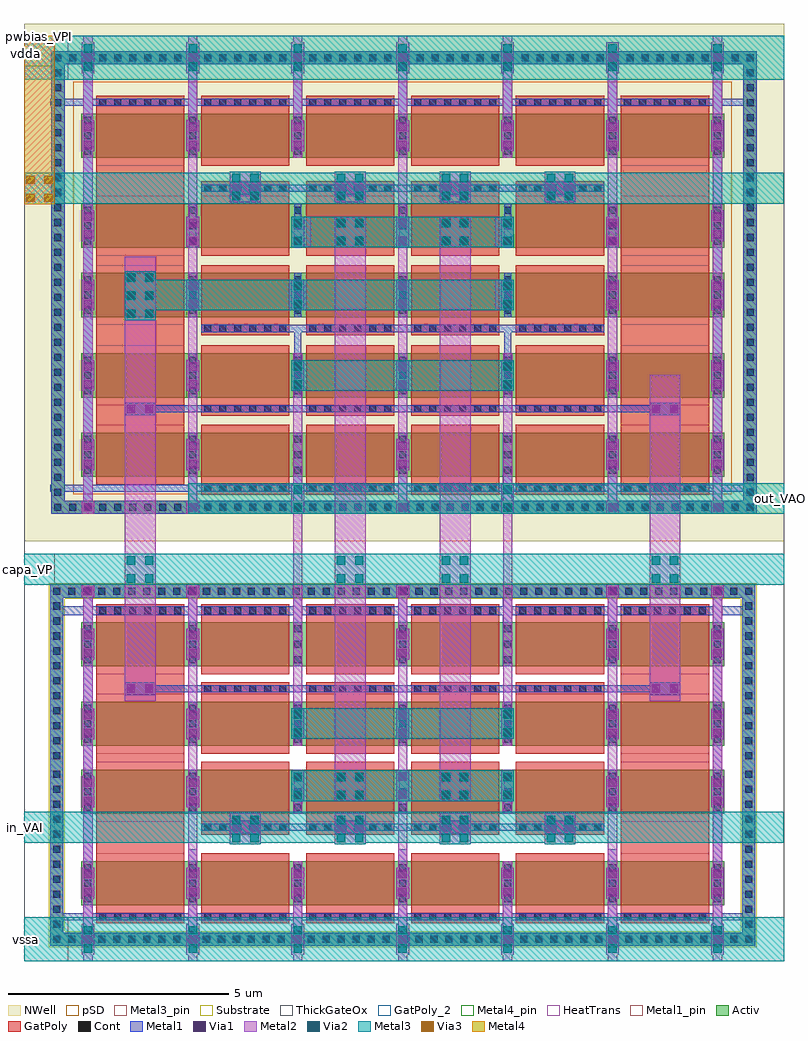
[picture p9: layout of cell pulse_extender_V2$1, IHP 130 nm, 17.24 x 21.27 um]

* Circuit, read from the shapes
.subckt pulse_extender_V2$1 capa_VP in_VAI out_VAO pwbias_VPI vdda vssa
XM1 vssa vssa vssa vssa sg13_hv_nmos w=1u l=2u m=16
XM2 capa_VP in_VAI vssa vssa sg13_hv_nmos w=1u l=2u m=4
XM3 out_VAO capa_VP vssa vssa sg13_hv_nmos w=1u l=2u m=4
XM4 vdda vdda vdda vdda sg13_hv_pmos w=1u l=2u m=18
XM5 out_VAO capa_VP vdda vdda sg13_hv_pmos w=1u l=2u m=4
XM6 capa_VP out_VAO vdda vdda sg13_hv_pmos w=1u l=2u m=4
XM7 capa_VP pwbias_VPI vdda vdda sg13_hv_pmos w=1u l=2u m=4
.ends

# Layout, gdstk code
from math import pi, radians
import gdstk
lib = gdstk.Library(unit=1e-6, precision=1e-09)
def R(c, l, rs):  # rectangles x0, y0, x1, y1
    for r in rs: c.add(gdstk.rectangle(r[:2], r[2:], *l))
def A(c, l, x, y, w, h, nx, ny, dx, dy):  # array of equal rectangles
    R(c, l, [(x+i*dx, y+j*dy, x+i*dx+w, y+j*dy+h) for i in range(nx) for j in range(ny)])
def P(c, l, *ps):  # polygons
    for p in ps: c.add(gdstk.Polygon(p, *l))
Activ = (1, 0)
GatPoly = (5, 0)
GatPoly_2 = (5, 2)
Cont = (6, 0)
Metal1 = (8, 0)
Metal1_pin = (8, 2)
Metal2 = (10, 0)
pSD = (14, 0)
Via1 = (19, 0)
Via2 = (29, 0)
Metal3 = (30, 0)
Metal3_pin = (30, 2)
NWell = (31, 0)
Substrate = (40, 0)
ThickGateOx = (44, 0)
Via3 = (49, 0)
Metal4 = (50, 0)
Metal4_pin = (50, 2)
HeatTrans = (51, 0)

pmoshv_3 = lib.new_cell('pmosHV$3')
R(pmoshv_3, Activ, [(0,0,0.3,0.3), (0,0,2.68,1), (2.38,0,2.68,0.3)])
R(pmoshv_3, GatPoly, [(0.34,-0.18,2.34,1.18)])
R(pmoshv_3, GatPoly_2, [(0.34,-0.18,2.34,1.18)])
A(pmoshv_3, Cont, 0.07, 0.07, 0.16, 0.16, 1, 3, 0, 0.35)
A(pmoshv_3, Cont, 2.45, 0.07, 0.16, 0.16, 1, 3, 0, 0.35)
R(pmoshv_3, Metal1, [(0.07,0,0.23,1), (2.45,0,2.61,1)])
R(pmoshv_3, Metal1_pin, [(0.07,0,0.23,1), (2.45,0,2.61,1)])
R(pmoshv_3, pSD, [(-0.18,-0.4,2.86,1.4)])
R(pmoshv_3, NWell, [(-0.62,-0.62,3.3,1.62)])
R(pmoshv_3, Substrate, [(2.38,0,2.68,0.3)])
R(pmoshv_3, ThickGateOx, [(-0.62,-0.62,3.3,1.62)])
R(pmoshv_3, HeatTrans, [(0.34,-0.18,2.34,1.18)])
pmoshv_3.add(gdstk.Label('pmosHV', (1.34,0.5), layer=63, texttype=0))
pmoshv_3.add(gdstk.Label('pmos', (1.34,0.5), layer=51, texttype=0))

nmoshv_4 = lib.new_cell('nmosHV$4')
R(nmoshv_4, Activ, [(0,0,0.3,0.3), (0,0,2.68,1), (2.38,0,2.68,0.3)])
R(nmoshv_4, GatPoly, [(0.34,-0.18,2.34,1.18)])
R(nmoshv_4, GatPoly_2, [(0.34,-0.18,2.34,1.18)])
A(nmoshv_4, Cont, 0.07, 0.07, 0.16, 0.16, 1, 3, 0, 0.35)
A(nmoshv_4, Cont, 2.45, 0.07, 0.16, 0.16, 1, 3, 0, 0.35)
R(nmoshv_4, Metal1, [(0.07,0,0.23,1), (2.45,0,2.61,1)])
R(nmoshv_4, Metal1_pin, [(0.07,0,0.23,1), (2.45,0,2.61,1)])
R(nmoshv_4, ThickGateOx, [(-0.27,-0.52,2.95,1.52)])
R(nmoshv_4, HeatTrans, [(0.34,-0.18,2.34,1.18)])
nmoshv_4.add(gdstk.Label('nmosHV', (1.34,0.5), layer=63, texttype=0))
nmoshv_4.add(gdstk.Label('nmosHV', (1.34,0.5), layer=51, texttype=0))

pmoshv_4 = lib.new_cell('pmosHV$4')
A(pmoshv_4, Activ, 0, 0, 0.3, 0.3, 5, 1, 2.38, 0)
R(pmoshv_4, Activ, [(0,0,9.82,1)])
A(pmoshv_4, GatPoly, 0.34, -0.18, 2, 1.36, 4, 1, 2.38, 0)
R(pmoshv_4, GatPoly_2, [(0.34,-0.18,2.34,1.18)])
A(pmoshv_4, Cont, 0.07, 0.07, 0.16, 0.16, 5, 3, 2.38, 0.35)
A(pmoshv_4, Metal1, 0.07, 0, 0.16, 1, 5, 1, 2.38, 0)
R(pmoshv_4, Metal1_pin, [(0.07,0,0.23,1), (2.45,0,2.61,1)])
R(pmoshv_4, pSD, [(-0.18,-0.4,10,1.4)])
R(pmoshv_4, NWell, [(-0.62,-0.62,10.44,1.62)])
R(pmoshv_4, Substrate, [(9.52,0,9.82,0.3)])
R(pmoshv_4, ThickGateOx, [(-0.62,-0.62,10.44,1.62)])
A(pmoshv_4, HeatTrans, 0.34, -0.18, 2, 1.36, 4, 1, 2.38, 0)
pmoshv_4.add(gdstk.Label('pmosHV', (1.34,0.5), layer=63, texttype=0))
pmoshv_4.add(gdstk.Label('pmos', (1.34,0.5), layer=51, texttype=0))
pmoshv_4.add(gdstk.Label('pmos', (3.72,0.5), layer=51, texttype=0))
pmoshv_4.add(gdstk.Label('pmos', (6.1,0.5), layer=51, texttype=0))
pmoshv_4.add(gdstk.Label('pmos', (8.48,0.5), layer=51, texttype=0))

pmoshv_5 = lib.new_cell('pmosHV$5')
A(pmoshv_5, Activ, 0, 0, 0.3, 0.3, 7, 1, 2.38, 0)
R(pmoshv_5, Activ, [(0,0,14.58,1)])
A(pmoshv_5, GatPoly, 0.34, -0.18, 2, 1.36, 6, 1, 2.38, 0)
R(pmoshv_5, GatPoly_2, [(0.34,-0.18,2.34,1.18)])
A(pmoshv_5, Cont, 0.07, 0.07, 0.16, 0.16, 7, 3, 2.38, 0.35)
A(pmoshv_5, Metal1, 0.07, 0, 0.16, 1, 7, 1, 2.38, 0)
R(pmoshv_5, Metal1_pin, [(0.07,0,0.23,1), (2.45,0,2.61,1)])
R(pmoshv_5, pSD, [(-0.18,-0.4,14.76,1.4)])
R(pmoshv_5, NWell, [(-0.62,-0.62,15.2,1.62)])
R(pmoshv_5, Substrate, [(14.28,0,14.58,0.3)])
R(pmoshv_5, ThickGateOx, [(-0.62,-0.62,15.2,1.62)])
A(pmoshv_5, HeatTrans, 0.34, -0.18, 2, 1.36, 6, 1, 2.38, 0)
pmoshv_5.add(gdstk.Label('pmosHV', (1.34,0.5), layer=63, texttype=0))
pmoshv_5.add(gdstk.Label('pmos', (1.34,0.5), layer=51, texttype=0))
pmoshv_5.add(gdstk.Label('pmos', (3.72,0.5), layer=51, texttype=0))
pmoshv_5.add(gdstk.Label('pmos', (6.1,0.5), layer=51, texttype=0))
pmoshv_5.add(gdstk.Label('pmos', (8.48,0.5), layer=51, texttype=0))
pmoshv_5.add(gdstk.Label('pmos', (10.86,0.5), layer=51, texttype=0))
pmoshv_5.add(gdstk.Label('pmos', (13.24,0.5), layer=51, texttype=0))

nmoshv_5 = lib.new_cell('nmosHV$5')
A(nmoshv_5, Activ, 0, 0, 0.3, 0.3, 7, 1, 2.38, 0)
R(nmoshv_5, Activ, [(0,0,14.58,1)])
A(nmoshv_5, GatPoly, 0.34, -0.18, 2, 1.36, 6, 1, 2.38, 0)
R(nmoshv_5, GatPoly_2, [(0.34,-0.18,2.34,1.18)])
A(nmoshv_5, Cont, 0.07, 0.07, 0.16, 0.16, 7, 3, 2.38, 0.35)
A(nmoshv_5, Metal1, 0.07, 0, 0.16, 1, 7, 1, 2.38, 0)
R(nmoshv_5, Metal1_pin, [(0.07,0,0.23,1), (2.45,0,2.61,1)])
R(nmoshv_5, ThickGateOx, [(-0.27,-0.52,14.85,1.52)])
A(nmoshv_5, HeatTrans, 0.34, -0.18, 2, 1.36, 6, 1, 2.38, 0)
nmoshv_5.add(gdstk.Label('nmosHV', (1.34,0.5), layer=63, texttype=0))
nmoshv_5.add(gdstk.Label('nmosHV', (1.34,0.5), layer=51, texttype=0))
nmoshv_5.add(gdstk.Label('nmosHV', (3.72,0.5), layer=51, texttype=0))
nmoshv_5.add(gdstk.Label('nmosHV', (6.1,0.5), layer=51, texttype=0))
nmoshv_5.add(gdstk.Label('nmosHV', (8.48,0.5), layer=51, texttype=0))
nmoshv_5.add(gdstk.Label('nmosHV', (10.86,0.5), layer=51, texttype=0))
nmoshv_5.add(gdstk.Label('nmosHV', (13.24,0.5), layer=51, texttype=0))

via_stack_3 = lib.new_cell('via_stack$3')
R(via_stack_3, Metal1, [(-0.145,-0.35,0.145,0.35)])
R(via_stack_3, Metal2, [(-0.145,-0.35,0.145,0.35)])
R(via_stack_3, Via1, [(-0.095,-0.3,0.095,-0.11), (-0.095,0.11,0.095,0.3)])

via_stack_5 = lib.new_cell('via_stack$5')
R(via_stack_5, Metal1, [(-0.35,-0.145,0.35,0.145)])
R(via_stack_5, Metal2, [(-0.35,-0.145,0.35,0.145)])
R(via_stack_5, Via1, [(-0.3,-0.095,-0.11,0.095), (0.11,-0.095,0.3,0.095)])

via_stack_32_1 = lib.new_cell('via_stack$32$1')
R(via_stack_32_1, Metal2, [(-0.35,-0.35,0.35,0.35)])
R(via_stack_32_1, Via2, [(-0.3,-0.3,-0.11,-0.11), (0.11,-0.3,0.3,-0.11), (-0.3,0.11,-0.11,0.3), (0.11,0.11,0.3,0.3)])
R(via_stack_32_1, Metal3, [(-0.35,-0.35,0.35,0.35)])

via_stack = lib.new_cell('via_stack')
R(via_stack, Metal2, [(-0.145,-0.35,0.145,0.35)])
R(via_stack, Via2, [(-0.095,-0.3,0.095,-0.11), (-0.095,0.11,0.095,0.3)])
R(via_stack, Metal3, [(-0.145,-0.35,0.145,0.35)])

guard_ring_4 = lib.new_cell('guard_ring$4')
R(guard_ring_4, Activ, [(-8,-4.95,-7.7,4.95), (7.7,-4.95,8,4.95), (-8,4.95,8,5.25)])
P(guard_ring_4, Activ, [(-8,-5.25),(-8,4.95),(-7.7,4.95),(-7.7,-4.95),(7.7,-4.95),(7.7,4.95),(-8,4.95),(-8,5.25),(8,5.25),(8,-5.25)])
A(guard_ring_4, Cont, -7.93, -5.18, 0.16, 0.16, 23, 2, 0.34, 10.2)
A(guard_ring_4, Cont, -0.05, -5.18, 0.16, 0.16, 24, 2, 0.34, 10.2)
A(guard_ring_4, Cont, -7.93, -4.84, 0.16, 0.16, 1, 29, 0, 0.34)
A(guard_ring_4, Cont, 7.77, -4.84, 0.16, 0.16, 1, 29, 0, 0.34)
R(guard_ring_4, Metal1, [(-8,-5.25,8,-4.95), (-8,-4.95,-7.7,4.95), (7.7,-4.95,8,4.95), (-8,4.95,8,5.25)])
R(guard_ring_4, NWell, [(-8.35,-5.6,8.35,5.6)])

guard_ring_1 = lib.new_cell('guard_ring$1')
R(guard_ring_1, Activ, [(-8,-3.8,-7.7,3.8), (7.7,-3.8,8,3.8), (-8,3.8,8,4.1)])
P(guard_ring_1, Activ, [(-8,-4.1),(-8,3.8),(-7.7,3.8),(-7.7,-3.8),(7.7,-3.8),(7.7,3.8),(-8,3.8),(-8,4.1),(8,4.1),(8,-4.1)])
A(guard_ring_1, Cont, -7.93, -4.03, 0.16, 0.16, 23, 2, 0.34, 7.9)
A(guard_ring_1, Cont, -0.05, -4.03, 0.16, 0.16, 24, 2, 0.34, 7.9)
A(guard_ring_1, Cont, -7.93, -3.69, 0.16, 0.16, 1, 11, 0, 0.34)
A(guard_ring_1, Cont, 7.77, -3.69, 0.16, 0.16, 1, 11, 0, 0.34)
A(guard_ring_1, Cont, -7.93, 0.13, 0.16, 0.16, 1, 11, 0, 0.34)
A(guard_ring_1, Cont, 7.77, 0.13, 0.16, 0.16, 1, 11, 0, 0.34)
R(guard_ring_1, Metal1, [(-8,-4.1,8,-3.8), (-8,-3.8,-7.7,3.8), (7.7,-3.8,8,3.8), (-8,3.8,8,4.1)])
R(guard_ring_1, pSD, [(-8.03,-3.77,-7.67,3.77), (7.67,-3.77,8.03,3.77), (-8.03,3.77,8.03,4.13)])
P(guard_ring_1, pSD, [(-8.03,-4.13),(-8.03,3.77),(-7.67,3.77),(-7.67,-3.77),(7.67,-3.77),(7.67,3.77),(-8.03,3.77),(-8.03,4.13),(8.03,4.13),(8.03,-4.13)])
R(guard_ring_1, Substrate, [(-8.03,-3.77,-7.67,3.77), (7.67,-3.77,8.03,3.77), (-8.03,3.77,8.03,4.13)])
P(guard_ring_1, Substrate, [(-8.03,-4.13),(-8.03,3.77),(-7.67,3.77),(-7.67,-3.77),(7.67,-3.77),(7.67,3.77),(-8.03,3.77),(-8.03,4.13),(8.03,4.13),(8.03,-4.13)])

via_stack_1 = lib.new_cell('via_stack$1')
R(via_stack_1, Metal1, [(-0.145,-0.145,0.145,0.145)])
R(via_stack_1, Metal2, [(-0.145,-0.145,0.145,0.145)])
R(via_stack_1, Via1, [(-0.095,-0.095,0.095,0.095)])

via_stack_29 = lib.new_cell('via_stack$29')
R(via_stack_29, GatPoly, [(-1,-0.15,1,0.15)])
A(via_stack_29, Cont, -0.93, -0.08, 0.16, 0.16, 6, 1, 0.34, 0)
R(via_stack_29, Metal1, [(-0.98,-0.08,0.98,0.08)])

via_stack_14 = lib.new_cell('via_stack$14')
R(via_stack_14, Metal1, [(-0.145,-0.35,0.145,0.35)])
R(via_stack_14, Metal2, [(-0.145,-0.35,0.145,0.35)])
R(via_stack_14, Via1, [(-0.095,-0.3,0.095,-0.11), (-0.095,0.11,0.095,0.3)])
R(via_stack_14, Via2, [(-0.095,-0.3,0.095,-0.11), (-0.095,0.11,0.095,0.3)])
R(via_stack_14, Metal3, [(-0.145,-0.35,0.145,0.35)])

via_stack_15 = lib.new_cell('via_stack$15')
R(via_stack_15, Metal2, [(-0.35,-0.555,0.35,0.555)])
A(via_stack_15, Via2, -0.3, -0.505, 0.19, 0.19, 1, 3, 0, 0.41)
A(via_stack_15, Via2, 0.11, -0.505, 0.19, 0.19, 1, 3, 0, 0.41)
R(via_stack_15, Metal3, [(-0.35,-0.555,0.35,0.555)])

via_stack_6 = lib.new_cell('via_stack$6')
R(via_stack_6, Metal3, [(-0.35,-0.35,0.35,0.35)])
R(via_stack_6, Via3, [(-0.3,-0.3,-0.11,-0.11), (0.11,-0.3,0.3,-0.11), (-0.3,0.11,-0.11,0.3), (0.11,0.11,0.3,0.3)])
R(via_stack_6, Metal4, [(-0.35,-0.35,0.35,0.35)])

pulse_extender_v2_1 = lib.new_cell('pulse_extender_V2$1')
A(pulse_extender_v2_1, GatPoly, 4.02, 2.375, 2, 0.02, 4, 2, 2.38, 14.495)
A(pulse_extender_v2_1, GatPoly, 4.02, 2.5, 2, 1.36, 4, 2, 2.38, 1.705)
R(pulse_extender_v2_1, GatPoly, [(1.64,0.86,3.64,7.14), (13.54,0.86,15.54,7.14), (1.64,10.625,3.64,19.135), (13.54,10.625,15.54,19.135)])
A(pulse_extender_v2_1, Metal1, 1.345, 0.775, 0.21, 1, 7, 2, 2.38, 2.07)
A(pulse_extender_v2_1, Metal1, 1.345, 4.385, 0.21, 1, 7, 2, 2.38, 13.34)
A(pulse_extender_v2_1, Metal1, 1.345, 6.195, 0.21, 1, 4, 1, 2.38, 0)
A(pulse_extender_v2_1, Metal1, 3.725, 6.195, 0.21, 1.855, 3, 1, 2.38, 0)
A(pulse_extender_v2_1, Metal1, 3.725, 9.65, 0.21, 1.84, 5, 1, 2.38, 0)
A(pulse_extender_v2_1, Metal1, 6.105, 10.49, 0.21, 1, 3, 1, 2.38, 0)
A(pulse_extender_v2_1, Metal1, 3.725, 14.115, 0.21, 1, 3, 1, 4.76, 0)
R(pulse_extender_v2_1, Metal1, [(6.105,0,6.315,1.775), (6.105,0,6.315,1.775), (10.865,0,11.075,1.775), (8.485,6.195,8.695,7.195), (8.485,6.195,8.695,8.05), (10.865,6.195,11.075,7.195), (10.865,6.195,11.075,7.195), (10.865,6.195,11.075,8.05), (10.865,6.195,11.075,8.05), (13.245,6.195,13.455,8.05), (15.625,6.195,15.835,7.195), (15.625,6.195,15.835,7.195), (1.345,10.49,1.555,11.49), (15.625,10.49,15.835,11.49), (1.345,12.29,1.555,13.29), (3.725,12.29,3.935,13.29), (8.485,12.29,8.695,13.29), (8.485,12.29,8.695,13.29), (13.245,12.29,13.455,13.29), (15.625,12.29,15.835,13.29), (1.345,14.115,1.555,15.115), (15.625,14.115,15.835,15.115), (1.345,15.69,1.555,16.69), (13.245,15.69,13.455,16.69), (15.625,15.69,15.835,16.69), (13.245,16.085,13.455,16.69), (13.245,17.725,13.455,20.15)])
A(pulse_extender_v2_1, Metal2, 3.725, 2.845, 0.21, 1, 5, 1, 2.38, 0)
A(pulse_extender_v2_1, Metal2, 3.725, 4.385, 0.21, 1, 4, 1, 2.38, 0)
R(pulse_extender_v2_1, Metal2, [(6.105,-0.5,6.315,1.775), (10.865,-0.5,11.075,1.775), (6.11,5.385,6.315,8.99), (10.87,5.385,11.075,8.99), (14.19,5.395,14.89,12.805), (2.285,5.4,2.985,15.485), (6.11,8.99,6.31,13.29), (10.87,8.99,11.07,13.29), (6.02,14.265,6.4,14.965), (10.685,14.265,11.07,14.965), (6.11,15.695,6.51,16.395), (10.685,15.695,11.07,16.395)])
R(pulse_extender_v2_1, pSD, [(1.12,10.09,16.06,19.45)])
R(pulse_extender_v2_1, Metal3, [(0,2.19,17.235,2.89), (6.11,3.13,11.07,3.83), (6.11,3.13,11.07,3.83), (6.11,4.545,11.07,5.245), (6.11,12.44,11.07,13.14), (2.285,14.265,11.07,14.965), (6.11,15.695,11.07,16.395), (6.11,15.695,11.07,16.395), (0,16.685,17.235,17.385)])
R(pulse_extender_v2_1, Metal3_pin, [(0,-0.5,1,0.5), (0,2.19,0.7,2.89), (0,8.04,0.7,8.74), (16.54,9.65,17.24,10.35), (0,19.5,1,20.5)])
R(pulse_extender_v2_1, NWell, [(0,9.025,17.24,20.77)])
R(pulse_extender_v2_1, ThickGateOx, [(0,-0.5,17.24,20.5)])
R(pulse_extender_v2_1, Metal4, [(0,17.385,0.7,20.5)])
R(pulse_extender_v2_1, Metal4_pin, [(0,19.8,0.7,20.5)])
pulse_extender_v2_1.add(gdstk.FlexPath([(0.59,10.23),(16.59,10.23)], 0.16, ends="flush", simple_path=True, layer=8, datatype=0))  # Metal1
pulse_extender_v2_1.add(gdstk.FlexPath([(2.285,12.03),(14.89,12.03)], 0.16, ends="flush", simple_path=True, layer=8, datatype=0))  # Metal1
pulse_extender_v2_1.add(gdstk.FlexPath([(4.02,13.855),(13.16,13.855)], 0.16, ends="flush", simple_path=True, layer=8, datatype=0))  # Metal1
pulse_extender_v2_1.add(gdstk.FlexPath([(6.21,13.29),(6.21,13.775),(6.21,13.775),(6.21,13.775),(6.21,13.775)], 0.16, ends="flush", simple_path=True, layer=8, datatype=0))  # Metal1
pulse_extender_v2_1.add(gdstk.FlexPath([(10.97,13.29),(10.97,13.775)], 0.16, ends="flush", simple_path=True, layer=8, datatype=0))  # Metal1
pulse_extender_v2_1.add(gdstk.FlexPath([(4.02,17.04),(13.16,17.04)], 0.16, ends="flush", simple_path=True, layer=8, datatype=0))  # Metal1
pulse_extender_v2_1.add(gdstk.FlexPath([(2.285,5.685),(14.89,5.685)], 0.16, ends="flush", simple_path=True, layer=8, datatype=0))  # Metal1
pulse_extender_v2_1.add(gdstk.FlexPath([(0.59,0.515),(16.59,0.515)], 0.16, ends="flush", simple_path=True, layer=8, datatype=0))  # Metal1
pulse_extender_v2_1.add(gdstk.FlexPath([(4.02,2.545),(13.16,2.545)], 0.16, ends="flush", simple_path=True, layer=8, datatype=0))  # Metal1
pulse_extender_v2_1.add(gdstk.FlexPath([(0.59,7.455),(16.59,7.455)], 0.21, ends="flush", simple_path=True, layer=8, datatype=0))  # Metal1
pulse_extender_v2_1.add(gdstk.FlexPath([(15.73,8.05),(15.73,5.96)], 0.21, ends="flush", simple_path=True, layer=8, datatype=0))  # Metal1
pulse_extender_v2_1.add(gdstk.FlexPath([(1.45,2.04),(1.45,0)], 0.21, ends="flush", simple_path=True, layer=8, datatype=0))  # Metal1
pulse_extender_v2_1.add(gdstk.FlexPath([(1.45,8.05),(1.45,-0.15)], 0.21, ends="flush", simple_path=True, layer=8, datatype=0))  # Metal1
pulse_extender_v2_1.add(gdstk.FlexPath([(15.73,2.04),(15.73,0)], 0.21, ends="flush", simple_path=True, layer=8, datatype=0))  # Metal1
pulse_extender_v2_1.add(gdstk.FlexPath([(3.83,0),(3.83,2.04)], 0.21, ends="flush", simple_path=True, layer=8, datatype=0))  # Metal1
pulse_extender_v2_1.add(gdstk.FlexPath([(8.59,0),(8.59,2.04)], 0.21, ends="flush", simple_path=True, layer=8, datatype=0))  # Metal1
pulse_extender_v2_1.add(gdstk.FlexPath([(13.35,0),(13.35,2.04)], 0.21, ends="flush", simple_path=True, layer=8, datatype=0))  # Metal1
pulse_extender_v2_1.add(gdstk.FlexPath([(8.59,0),(8.59,2.04)], 0.21, ends="flush", simple_path=True, layer=8, datatype=0))  # Metal1
pulse_extender_v2_1.add(gdstk.FlexPath([(3.83,0),(3.83,2.04)], 0.21, ends="flush", simple_path=True, layer=8, datatype=0))  # Metal1
pulse_extender_v2_1.add(gdstk.FlexPath([(15.73,-0.15),(15.73,8.05)], 0.21, ends="flush", simple_path=True, layer=8, datatype=0))  # Metal1
pulse_extender_v2_1.add(gdstk.FlexPath([(15.73,9.65),(15.73,20.15)], 0.21, ends="flush", simple_path=True, layer=8, datatype=0))  # Metal1
pulse_extender_v2_1.add(gdstk.FlexPath([(1.45,9.65),(1.45,20.15)], 0.21, ends="flush", simple_path=True, layer=8, datatype=0))  # Metal1
pulse_extender_v2_1.add(gdstk.FlexPath([(3.83,17.725),(3.83,20.15)], 0.21, ends="flush", simple_path=True, layer=8, datatype=0))  # Metal1
pulse_extender_v2_1.add(gdstk.FlexPath([(6.21,17.725),(6.21,20.15)], 0.21, ends="flush", simple_path=True, layer=8, datatype=0))  # Metal1
pulse_extender_v2_1.add(gdstk.FlexPath([(8.59,17.725),(8.59,20.15)], 0.21, ends="flush", simple_path=True, layer=8, datatype=0))  # Metal1
pulse_extender_v2_1.add(gdstk.FlexPath([(10.97,17.725),(10.97,20.15)], 0.21, ends="flush", simple_path=True, layer=8, datatype=0))  # Metal1
pulse_extender_v2_1.add(gdstk.FlexPath([(0.59,18.985),(16.59,18.985)], 0.16, ends="flush", simple_path=True, layer=8, datatype=0))  # Metal1
pulse_extender_v2_1.add(gdstk.FlexPath([(7.4,16.395),(7.4,3.13)], 0.7, ends="flush", simple_path=True, layer=10, datatype=0))  # Metal2
pulse_extender_v2_1.add(gdstk.FlexPath([(9.78,16.395),(9.78,3.13)], 0.7, ends="flush", simple_path=True, layer=10, datatype=0))  # Metal2
pulse_extender_v2_1.add(gdstk.FlexPath([(8.59,17.725),(8.59,9.65),(8.59,9.65)], 0.21, ends="flush", simple_path=True, layer=10, datatype=0))  # Metal2
pulse_extender_v2_1.add(gdstk.FlexPath([(3.83,17.725),(3.83,9.65)], 0.21, ends="flush", simple_path=True, layer=10, datatype=0))  # Metal2
pulse_extender_v2_1.add(gdstk.FlexPath([(13.35,20.15),(13.35,9.65),(13.35,9.65)], 0.21, ends="flush", simple_path=True, layer=10, datatype=0))  # Metal2
pulse_extender_v2_1.add(gdstk.FlexPath([(3.83,2.04),(3.83,8.05)], 0.21, ends="flush", simple_path=True, layer=10, datatype=0))  # Metal2
pulse_extender_v2_1.add(gdstk.FlexPath([(8.59,2.04),(8.59,8.05)], 0.21, ends="flush", simple_path=True, layer=10, datatype=0))  # Metal2
pulse_extender_v2_1.add(gdstk.FlexPath([(13.35,2.04),(13.35,8.05)], 0.21, ends="flush", simple_path=True, layer=10, datatype=0))  # Metal2
pulse_extender_v2_1.add(gdstk.FlexPath([(1.45,8.05),(1.45,-0.5)], 0.21, ends="flush", simple_path=True, layer=10, datatype=0))  # Metal2
pulse_extender_v2_1.add(gdstk.FlexPath([(15.73,8.05),(15.73,-0.5)], 0.21, ends="flush", simple_path=True, layer=10, datatype=0))  # Metal2
pulse_extender_v2_1.add(gdstk.FlexPath([(13.35,2.04),(13.35,-0.5)], 0.21, ends="flush", simple_path=True, layer=10, datatype=0))  # Metal2
pulse_extender_v2_1.add(gdstk.FlexPath([(8.59,2.04),(8.59,-0.5)], 0.21, ends="flush", simple_path=True, layer=10, datatype=0))  # Metal2
pulse_extender_v2_1.add(gdstk.FlexPath([(3.83,2.04),(3.83,-0.5)], 0.21, ends="flush", simple_path=True, layer=10, datatype=0))  # Metal2
pulse_extender_v2_1.add(gdstk.FlexPath([(3.83,17.725),(3.83,20.5)], 0.21, ends="flush", simple_path=True, layer=10, datatype=0))  # Metal2
pulse_extender_v2_1.add(gdstk.FlexPath([(6.21,17.725),(6.21,20.5)], 0.21, ends="flush", simple_path=True, layer=10, datatype=0))  # Metal2
pulse_extender_v2_1.add(gdstk.FlexPath([(8.59,17.725),(8.59,20.5)], 0.21, ends="flush", simple_path=True, layer=10, datatype=0))  # Metal2
pulse_extender_v2_1.add(gdstk.FlexPath([(10.97,17.725),(10.97,20.5)], 0.21, ends="flush", simple_path=True, layer=10, datatype=0))  # Metal2
pulse_extender_v2_1.add(gdstk.FlexPath([(15.73,9.65),(15.73,20.5)], 0.21, ends="flush", simple_path=True, layer=10, datatype=0))  # Metal2
pulse_extender_v2_1.add(gdstk.FlexPath([(1.45,9.65),(1.45,20.5)], 0.21, ends="flush", simple_path=True, layer=10, datatype=0))  # Metal2
pulse_extender_v2_1.add(gdstk.FlexPath([(3.725,10),(17.24,10)], 0.7, ends="flush", simple_path=True, layer=30, datatype=0))  # Metal3
pulse_extender_v2_1.add(gdstk.FlexPath([(17.24,8.39),(0,8.39)], 0.7, ends="flush", simple_path=True, layer=30, datatype=0))  # Metal3
pulse_extender_v2_1.add(gdstk.FlexPath([(0,0),(17.24,0)], 1, ends="flush", simple_path=True, layer=30, datatype=0))  # Metal3
pulse_extender_v2_1.add(gdstk.FlexPath([(0,20),(17.24,20)], 1, ends="flush", simple_path=True, layer=30, datatype=0))  # Metal3
pulse_extender_v2_1.add(gdstk.FlexPath([(0.35,17.385),(0.35,16.685)], 0.7, ends="flush", simple_path=True, layer=50, datatype=0))  # Metal4
pulse_extender_v2_1.add(gdstk.Reference(pmoshv_3, (6.06,15.69)))
pulse_extender_v2_1.add(gdstk.Reference(pmoshv_3, (8.44,15.69)))
pulse_extender_v2_1.add(gdstk.Reference(nmoshv_4, (6.06,4.385)))
pulse_extender_v2_1.add(gdstk.Reference(nmoshv_4, (8.44,4.385)))
pulse_extender_v2_1.add(gdstk.Reference(nmoshv_4, (6.06,2.845)))
pulse_extender_v2_1.add(gdstk.Reference(nmoshv_4, (8.44,2.845)))
pulse_extender_v2_1.add(gdstk.Reference(pmoshv_4, (3.68,12.29)))
pulse_extender_v2_1.add(gdstk.Reference(pmoshv_5, (1.3,10.49)))
pulse_extender_v2_1.add(gdstk.Reference(pmoshv_5, (1.3,17.725)))
pulse_extender_v2_1.add(gdstk.Reference(pmoshv_4, (3.68,14.115)))
pulse_extender_v2_1.add(gdstk.Reference(nmoshv_5, (1.3,6.195)))
pulse_extender_v2_1.add(gdstk.Reference(nmoshv_5, (1.3,0.775)))
r = gdstk.Reference(via_stack_3, (3.83,16.045)); r.repetition = gdstk.Repetition(3, 1, v1=(4.76,0), v2=(0,0)); pulse_extender_v2_1.add(r)
r = gdstk.Reference(via_stack_3, (3.83,16.045)); r.repetition = gdstk.Repetition(3, 1, v1=(4.76,0), v2=(0,0)); pulse_extender_v2_1.add(r)
r = gdstk.Reference(via_stack_5, (5.02,17.035)); r.repetition = gdstk.Repetition(4, 1, v1=(2.38,0), v2=(0,0)); pulse_extender_v2_1.add(r)
r = gdstk.Reference(via_stack_32_1, (5.02,17.065)); r.repetition = gdstk.Repetition(4, 1, v1=(2.38,0), v2=(0,0)); pulse_extender_v2_1.add(r)
r = gdstk.Reference(via_stack_5, (5.02,2.54)); r.repetition = gdstk.Repetition(4, 1, v1=(2.38,0), v2=(0,0)); pulse_extender_v2_1.add(r)
r = gdstk.Reference(via_stack_32_1, (5.02,2.505)); r.repetition = gdstk.Repetition(4, 1, v1=(2.38,0), v2=(0,0)); pulse_extender_v2_1.add(r)
r = gdstk.Reference(via_stack_3, (3.83,14.615)); r.repetition = gdstk.Repetition(3, 1, v1=(4.76,0), v2=(0,0)); pulse_extender_v2_1.add(r)
pulse_extender_v2_1.add(gdstk.Reference(via_stack, (6.21,10)))
pulse_extender_v2_1.add(gdstk.Reference(via_stack, (10.97,10)))
r = gdstk.Reference(guard_ring_4, (8.62,14.9)); r.repetition = gdstk.Repetition(1, 1, v1=(0,0), v2=(0,0)); pulse_extender_v2_1.add(r)
r = gdstk.Reference(guard_ring_1, (8.59,3.95)); r.repetition = gdstk.Repetition(1, 1, v1=(0,0), v2=(0,0)); pulse_extender_v2_1.add(r)
pulse_extender_v2_1.add(gdstk.Reference(via_stack_3, (8.59,12.79)))
pulse_extender_v2_1.add(gdstk.Reference(via_stack_3, (8.59,12.79)))
pulse_extender_v2_1.add(gdstk.Reference(via_stack_3, (8.59,16.045)))
pulse_extender_v2_1.add(gdstk.Reference(via_stack_3, (8.59,16.045)))
pulse_extender_v2_1.add(gdstk.Reference(via_stack_3, (8.59,16.045)))
pulse_extender_v2_1.add(gdstk.Reference(via_stack_3, (8.59,16.045)))
pulse_extender_v2_1.add(gdstk.Reference(via_stack, (8.59,20)))
pulse_extender_v2_1.add(gdstk.Reference(via_stack_1, (8.59,20), rotation=pi/2))
pulse_extender_v2_1.add(gdstk.Reference(via_stack_3, (8.59,18.225)))
pulse_extender_v2_1.add(gdstk.Reference(via_stack_3, (8.59,10.99)))
pulse_extender_v2_1.add(gdstk.Reference(via_stack_1, (8.59,0), rotation=pi/2))
pulse_extender_v2_1.add(gdstk.Reference(via_stack_3, (8.59,6.695)))
pulse_extender_v2_1.add(gdstk.Reference(via_stack_1, (8.59,7.9), rotation=pi/2))
pulse_extender_v2_1.add(gdstk.Reference(via_stack_3, (8.59,4.885)))
pulse_extender_v2_1.add(gdstk.Reference(via_stack_3, (8.59,3.485)))
pulse_extender_v2_1.add(gdstk.Reference(via_stack_1, (8.59,9.8), rotation=pi/2))
pulse_extender_v2_1.add(gdstk.Reference(via_stack_3, (8.59,1.275)))
pulse_extender_v2_1.add(gdstk.Reference(via_stack, (8.59,0)))
pulse_extender_v2_1.add(gdstk.Reference(via_stack_29, (9.78,10.23)))
pulse_extender_v2_1.add(gdstk.Reference(via_stack, (15.73,20)))
pulse_extender_v2_1.add(gdstk.Reference(via_stack_14, (10.97,12.79)))
pulse_extender_v2_1.add(gdstk.Reference(via_stack_29, (12.16,17.04)))
pulse_extender_v2_1.add(gdstk.Reference(via_stack_14, (10.97,14.615)))
pulse_extender_v2_1.add(gdstk.Reference(via_stack_29, (9.78,17.04)))
pulse_extender_v2_1.add(gdstk.Reference(via_stack_1, (15.73,20), rotation=pi/2))
pulse_extender_v2_1.add(gdstk.Reference(pmoshv_3, (13.2,14.115)))
pulse_extender_v2_1.add(gdstk.Reference(pmoshv_3, (13.2,15.69)))
pulse_extender_v2_1.add(gdstk.Reference(via_stack_14, (10.97,16.045)))
pulse_extender_v2_1.add(gdstk.Reference(via_stack_29, (9.78,12.03)))
pulse_extender_v2_1.add(gdstk.Reference(via_stack, (10.97,20)))
pulse_extender_v2_1.add(gdstk.Reference(via_stack_14, (10.97,16.045)))
pulse_extender_v2_1.add(gdstk.Reference(via_stack_1, (10.97,20), rotation=pi/2))
pulse_extender_v2_1.add(gdstk.Reference(via_stack_32_1, (9.78,16.045)))
pulse_extender_v2_1.add(gdstk.Reference(via_stack_3, (10.97,18.225)))
pulse_extender_v2_1.add(gdstk.Reference(via_stack, (13.35,20)))
pulse_extender_v2_1.add(gdstk.Reference(via_stack_5, (14.54,12.03)))
pulse_extender_v2_1.add(gdstk.Reference(via_stack_29, (9.78,13.855)))
pulse_extender_v2_1.add(gdstk.Reference(via_stack_29, (12.16,13.855)))
pulse_extender_v2_1.add(gdstk.Reference(pmoshv_3, (10.82,15.69)))
pulse_extender_v2_1.add(gdstk.Reference(via_stack_1, (13.35,20), rotation=pi/2))
pulse_extender_v2_1.add(gdstk.Reference(via_stack_3, (13.35,18.225)))
pulse_extender_v2_1.add(gdstk.Reference(via_stack_3, (15.73,18.225)))
pulse_extender_v2_1.add(gdstk.Reference(via_stack_3, (15.73,16.19)))
pulse_extender_v2_1.add(gdstk.Reference(via_stack_3, (15.73,14.615)))
pulse_extender_v2_1.add(gdstk.Reference(via_stack_3, (15.73,12.79)))
pulse_extender_v2_1.add(gdstk.Reference(pmoshv_3, (13.2,12.29)))
pulse_extender_v2_1.add(gdstk.Reference(via_stack_3, (15.73,10.99)))
pulse_extender_v2_1.add(gdstk.Reference(via_stack_3, (13.35,10.99)))
pulse_extender_v2_1.add(gdstk.Reference(via_stack_3, (13.35,12.79)))
pulse_extender_v2_1.add(gdstk.Reference(via_stack_29, (12.16,12.03)))
pulse_extender_v2_1.add(gdstk.Reference(via_stack_29, (12.16,18.985)))
pulse_extender_v2_1.add(gdstk.Reference(via_stack_29, (14.54,18.985)))
pulse_extender_v2_1.add(gdstk.Reference(via_stack_29, (9.78,18.985)))
pulse_extender_v2_1.add(gdstk.Reference(via_stack_29, (12.16,10.23)))
pulse_extender_v2_1.add(gdstk.Reference(via_stack_29, (14.54,10.23)))
pulse_extender_v2_1.add(gdstk.Reference(via_stack_15, (2.635,14.6)))
pulse_extender_v2_1.add(gdstk.Reference(via_stack_3, (3.83,18.225)))
pulse_extender_v2_1.add(gdstk.Reference(via_stack_29, (7.4,17.04)))
pulse_extender_v2_1.add(gdstk.Reference(via_stack_29, (5.02,17.04)))
pulse_extender_v2_1.add(gdstk.Reference(via_stack_14, (6.21,14.615)))
pulse_extender_v2_1.add(gdstk.Reference(via_stack_29, (5.02,12.03)))
pulse_extender_v2_1.add(gdstk.Reference(via_stack_14, (6.21,16.045)))
pulse_extender_v2_1.add(gdstk.Reference(via_stack_3, (3.83,10.99)))
pulse_extender_v2_1.add(gdstk.Reference(via_stack, (1.45,20)))
pulse_extender_v2_1.add(gdstk.Reference(via_stack_32_1, (7.4,16.045)))
pulse_extender_v2_1.add(gdstk.Reference(pmoshv_3, (1.3,12.29)))
pulse_extender_v2_1.add(gdstk.Reference(via_stack_14, (6.21,16.045)))
pulse_extender_v2_1.add(gdstk.Reference(via_stack_3, (3.83,12.79)))
pulse_extender_v2_1.add(gdstk.Reference(via_stack_6, (0.35,17.025)))
pulse_extender_v2_1.add(gdstk.Reference(pmoshv_3, (1.3,14.115)))
pulse_extender_v2_1.add(gdstk.Reference(pmoshv_3, (3.68,15.69)))
pulse_extender_v2_1.add(gdstk.Reference(via_stack_1, (1.45,20), rotation=pi/2))
pulse_extender_v2_1.add(gdstk.Reference(via_stack_32_1, (7.4,16.045)))
pulse_extender_v2_1.add(gdstk.Reference(via_stack, (1.45,20)))
pulse_extender_v2_1.add(gdstk.Reference(via_stack_1, (1.45,20), rotation=pi/2))
pulse_extender_v2_1.add(gdstk.Reference(via_stack_3, (1.45,18.225)))
pulse_extender_v2_1.add(gdstk.Reference(via_stack_3, (1.45,16.19)))
pulse_extender_v2_1.add(gdstk.Reference(via_stack_3, (1.45,14.615)))
pulse_extender_v2_1.add(gdstk.Reference(via_stack_3, (1.45,12.79)))
pulse_extender_v2_1.add(gdstk.Reference(via_stack_3, (1.45,10.99)))
pulse_extender_v2_1.add(gdstk.Reference(via_stack, (6.21,20)))
pulse_extender_v2_1.add(gdstk.Reference(via_stack_1, (6.21,20), rotation=pi/2))
pulse_extender_v2_1.add(gdstk.Reference(via_stack_3, (6.21,18.225)))
pulse_extender_v2_1.add(gdstk.Reference(via_stack_14, (6.21,12.79)))
pulse_extender_v2_1.add(gdstk.Reference(pmoshv_3, (1.3,15.69)))
pulse_extender_v2_1.add(gdstk.Reference(via_stack_29, (7.4,12.03)))
pulse_extender_v2_1.add(gdstk.Reference(via_stack_29, (7.4,18.985)))
pulse_extender_v2_1.add(gdstk.Reference(via_stack_5, (2.635,12.03)))
pulse_extender_v2_1.add(gdstk.Reference(via_stack_29, (2.64,18.985)))
pulse_extender_v2_1.add(gdstk.Reference(via_stack_29, (5.02,18.985)))
pulse_extender_v2_1.add(gdstk.Reference(via_stack_29, (7.4,13.855)))
pulse_extender_v2_1.add(gdstk.Reference(via_stack_29, (5.02,13.855)))
pulse_extender_v2_1.add(gdstk.Reference(via_stack_29, (7.4,10.23)))
pulse_extender_v2_1.add(gdstk.Reference(via_stack, (3.83,20)))
pulse_extender_v2_1.add(gdstk.Reference(via_stack_29, (5.02,10.23)))
pulse_extender_v2_1.add(gdstk.Reference(via_stack_1, (3.83,20), rotation=pi/2))
pulse_extender_v2_1.add(gdstk.Reference(via_stack_3, (3.83,6.695)))
pulse_extender_v2_1.add(gdstk.Reference(via_stack_3, (1.45,4.885)))
pulse_extender_v2_1.add(gdstk.Reference(nmoshv_4, (3.68,2.845)))
pulse_extender_v2_1.add(gdstk.Reference(via_stack_29, (5.02,7.455)))
pulse_extender_v2_1.add(gdstk.Reference(via_stack_29, (2.64,7.455)))
pulse_extender_v2_1.add(gdstk.Reference(via_stack_29, (7.4,7.455)))
pulse_extender_v2_1.add(gdstk.Reference(via_stack_29, (5.02,0.515)))
pulse_extender_v2_1.add(gdstk.Reference(via_stack_32_1, (7.4,8.39)))
pulse_extender_v2_1.add(gdstk.Reference(via_stack_29, (2.64,0.515)))
pulse_extender_v2_1.add(gdstk.Reference(via_stack_1, (1.45,9.8), rotation=pi/2))
pulse_extender_v2_1.add(gdstk.Reference(via_stack_29, (7.4,0.515)))
pulse_extender_v2_1.add(gdstk.Reference(via_stack_3, (1.45,3.345)))
pulse_extender_v2_1.add(gdstk.Reference(via_stack_3, (1.45,1.275)))
pulse_extender_v2_1.add(gdstk.Reference(nmoshv_4, (3.68,4.385)))
pulse_extender_v2_1.add(gdstk.Reference(via_stack_3, (1.45,6.695)))
pulse_extender_v2_1.add(gdstk.Reference(nmoshv_4, (1.3,2.845)))
pulse_extender_v2_1.add(gdstk.Reference(nmoshv_4, (1.3,4.385)))
pulse_extender_v2_1.add(gdstk.Reference(via_stack_32_1, (7.4,3.48)))
pulse_extender_v2_1.add(gdstk.Reference(via_stack_32_1, (7.4,3.48)))
pulse_extender_v2_1.add(gdstk.Reference(via_stack_29, (7.4,2.545)))
pulse_extender_v2_1.add(gdstk.Reference(via_stack_29, (5.02,2.545)))
pulse_extender_v2_1.add(gdstk.Reference(via_stack, (1.45,0)))
pulse_extender_v2_1.add(gdstk.Reference(via_stack_1, (1.45,0), rotation=pi/2))
pulse_extender_v2_1.add(gdstk.Reference(via_stack_14, (6.21,3.48)))
pulse_extender_v2_1.add(gdstk.Reference(via_stack_14, (6.21,4.895)))
pulse_extender_v2_1.add(gdstk.Reference(via_stack_3, (3.83,3.345)))
pulse_extender_v2_1.add(gdstk.Reference(via_stack_3, (6.21,1.275)))
pulse_extender_v2_1.add(gdstk.Reference(via_stack, (6.21,0)))
pulse_extender_v2_1.add(gdstk.Reference(via_stack_1, (6.21,0), rotation=pi/2))
pulse_extender_v2_1.add(gdstk.Reference(via_stack_3, (3.83,1.275)))
pulse_extender_v2_1.add(gdstk.Reference(via_stack, (3.83,0)))
pulse_extender_v2_1.add(gdstk.Reference(via_stack_1, (3.83,0), rotation=pi/2))
pulse_extender_v2_1.add(gdstk.Reference(via_stack_1, (3.83,7.9), rotation=pi/2))
pulse_extender_v2_1.add(gdstk.Reference(via_stack_1, (1.45,7.9), rotation=pi/2))
pulse_extender_v2_1.add(gdstk.Reference(via_stack_29, (5.02,2.545)))
pulse_extender_v2_1.add(gdstk.Reference(via_stack_3, (3.83,4.885)))
pulse_extender_v2_1.add(gdstk.Reference(via_stack_29, (7.4,2.545)))
pulse_extender_v2_1.add(gdstk.Reference(via_stack_29, (7.4,5.685)))
pulse_extender_v2_1.add(gdstk.Reference(via_stack_5, (2.635,5.685)))
pulse_extender_v2_1.add(gdstk.Reference(via_stack_29, (5.02,5.685)))
pulse_extender_v2_1.add(gdstk.Reference(via_stack_32_1, (2.635,8.39)))
pulse_extender_v2_1.add(gdstk.Reference(via_stack_1, (3.83,9.8), rotation=pi/2))
pulse_extender_v2_1.add(gdstk.Reference(via_stack_1, (15.73,7.9), rotation=pi/2))
pulse_extender_v2_1.add(gdstk.Reference(nmoshv_4, (13.2,4.385)))
pulse_extender_v2_1.add(gdstk.Reference(via_stack_32_1, (14.54,8.39)))
pulse_extender_v2_1.add(gdstk.Reference(via_stack_14, (10.97,3.48)))
pulse_extender_v2_1.add(gdstk.Reference(via_stack_29, (9.78,7.455)))
pulse_extender_v2_1.add(gdstk.Reference(via_stack_29, (12.16,2.545)))
pulse_extender_v2_1.add(gdstk.Reference(via_stack_29, (9.78,2.545)))
pulse_extender_v2_1.add(gdstk.Reference(via_stack_3, (13.35,6.695)))
pulse_extender_v2_1.add(gdstk.Reference(via_stack_5, (14.54,5.685)))
pulse_extender_v2_1.add(gdstk.Reference(via_stack_29, (9.78,5.685)))
pulse_extender_v2_1.add(gdstk.Reference(via_stack_29, (12.16,5.685)))
pulse_extender_v2_1.add(gdstk.Reference(via_stack, (15.73,0)))
pulse_extender_v2_1.add(gdstk.Reference(nmoshv_4, (10.82,4.385)))
pulse_extender_v2_1.add(gdstk.Reference(via_stack_1, (15.73,0), rotation=pi/2))
pulse_extender_v2_1.add(gdstk.Reference(via_stack_1, (13.35,7.9), rotation=pi/2))
pulse_extender_v2_1.add(gdstk.Reference(via_stack_3, (15.73,6.695)))
pulse_extender_v2_1.add(gdstk.Reference(via_stack_14, (10.97,4.895)))
pulse_extender_v2_1.add(gdstk.Reference(nmoshv_4, (10.82,2.845)))
pulse_extender_v2_1.add(gdstk.Reference(via_stack_3, (15.73,3.345)))
pulse_extender_v2_1.add(gdstk.Reference(via_stack_3, (15.73,1.275)))
pulse_extender_v2_1.add(gdstk.Reference(nmoshv_4, (13.2,2.845)))
pulse_extender_v2_1.add(gdstk.Reference(via_stack_32_1, (9.78,8.39)))
pulse_extender_v2_1.add(gdstk.Reference(via_stack_3, (13.35,1.275)))
pulse_extender_v2_1.add(gdstk.Reference(via_stack_29, (14.54,7.455)))
pulse_extender_v2_1.add(gdstk.Reference(via_stack, (13.35,0)))
pulse_extender_v2_1.add(gdstk.Reference(via_stack_1, (13.35,0), rotation=pi/2))
pulse_extender_v2_1.add(gdstk.Reference(via_stack_3, (10.97,1.275)))
pulse_extender_v2_1.add(gdstk.Reference(via_stack, (10.97,0)))
pulse_extender_v2_1.add(gdstk.Reference(via_stack_1, (10.97,0), rotation=pi/2))
pulse_extender_v2_1.add(gdstk.Reference(via_stack_29, (12.16,7.455)))
pulse_extender_v2_1.add(gdstk.Reference(via_stack_29, (9.78,0.515)))
pulse_extender_v2_1.add(gdstk.Reference(via_stack_32_1, (9.78,3.48)))
pulse_extender_v2_1.add(gdstk.Reference(via_stack_3, (15.73,6.695)))
pulse_extender_v2_1.add(gdstk.Reference(via_stack_1, (15.73,9.8), rotation=pi/2))
pulse_extender_v2_1.add(gdstk.Reference(via_stack_29, (12.16,2.545)))
pulse_extender_v2_1.add(gdstk.Reference(via_stack_29, (9.78,2.545)))
pulse_extender_v2_1.add(gdstk.Reference(via_stack_29, (14.54,0.515)))
pulse_extender_v2_1.add(gdstk.Reference(via_stack_1, (13.35,9.8), rotation=pi/2))
pulse_extender_v2_1.add(gdstk.Reference(via_stack_29, (12.16,0.515)))
pulse_extender_v2_1.add(gdstk.Reference(via_stack_3, (13.35,3.345)))
pulse_extender_v2_1.add(gdstk.Reference(via_stack_3, (13.35,4.885)))
pulse_extender_v2_1.add(gdstk.Reference(via_stack_3, (15.73,4.885)))
pulse_extender_v2_1.add(gdstk.Label('out_VAO', (17.22,10), layer=30, texttype=25))
pulse_extender_v2_1.add(gdstk.Label('capa_VP', (0.025,8.39), layer=30, texttype=25))
pulse_extender_v2_1.add(gdstk.Label('in_VAI', (0.025,2.54), layer=30, texttype=25))
pulse_extender_v2_1.add(gdstk.Label('vdda', (0.035,20.1), layer=30, texttype=25))
pulse_extender_v2_1.add(gdstk.Label('vssa', (0.035,0), layer=30, texttype=25))
pulse_extender_v2_1.add(gdstk.Label('pwbias_VPI', (0.345,20.48), layer=50, texttype=25))

lib.write_gds('pulse_extender_V2_1.gds')
